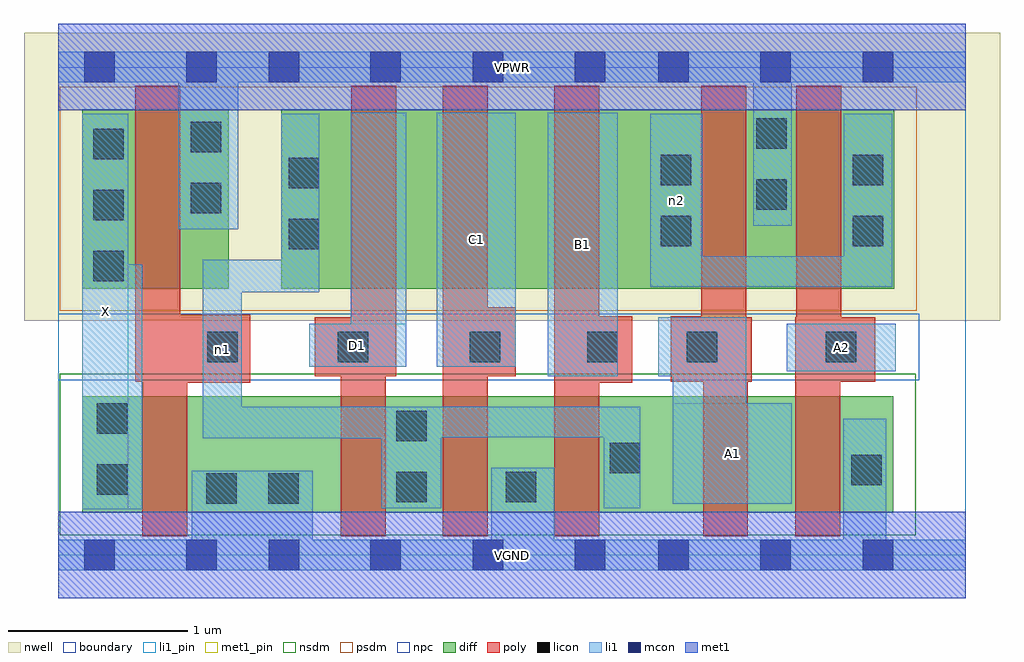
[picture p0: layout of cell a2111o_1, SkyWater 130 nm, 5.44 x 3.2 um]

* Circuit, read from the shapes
.subckt a2111o_1 A1 A2 B1 C1 D1 VGND VPWR X n1 n2
XM1 VGND n1 X VSUBS sky130_fd_pr__nfet_01v8 w=0.65 l=0.25
XM2 n1 D1 VGND VSUBS sky130_fd_pr__nfet_01v8 w=0.65 l=0.25
XM3 VGND C1 n1 VSUBS sky130_fd_pr__nfet_01v8 w=0.65 l=0.25
XM4 n1 B1 VGND VSUBS sky130_fd_pr__nfet_01v8 w=0.65 l=0.25
XM5 n3 A1 n1 VSUBS sky130_fd_pr__nfet_01v8 w=0.65 l=0.25
XM6 VGND A2 n3 VSUBS sky130_fd_pr__nfet_01v8 w=0.65 l=0.25
XM7 VPWR n1 X n4 sky130_fd_pr__pfet_01v8 w=1 l=0.25
XM8 n5 D1 n1 n4 sky130_fd_pr__pfet_01v8 w=1 l=0.25
XM9 n6 C1 n5 n4 sky130_fd_pr__pfet_01v8 w=1 l=0.25
XM10 n2 B1 n6 n4 sky130_fd_pr__pfet_01v8 w=1 l=0.25
XM11 VPWR A1 n2 n4 sky130_fd_pr__pfet_01v8 w=1 l=0.25
XM12 n2 A2 VPWR n4 sky130_fd_pr__pfet_01v8 w=1 l=0.25
.ends

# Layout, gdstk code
import gdstk
lib = gdstk.Library(unit=1e-6, precision=1e-09)
def R(c, l, rs):  # rectangles x0, y0, x1, y1
    for r in rs: c.add(gdstk.rectangle(r[:2], r[2:], *l))
def A(c, l, x, y, w, h, nx, ny, dx, dy):  # array of equal rectangles
    R(c, l, [(x+i*dx, y+j*dy, x+i*dx+w, y+j*dy+h) for i in range(nx) for j in range(ny)])
nwell = (64, 20)
diff = (65, 20)
poly = (66, 20)
licon = (66, 44)
li1_pin = (67, 16)
li1 = (67, 20)
mcon = (67, 44)
met1_pin = (68, 16)
met1 = (68, 20)
nsdm = (93, 44)
psdm = (94, 20)
npc = (95, 20)
boundary = (235, 4)

a2111o_1 = lib.new_cell('a2111o_1')
R(a2111o_1, nwell, [(-0.19,1.305,5.25,2.91), (0,1.305,5.06,2.91)])
R(a2111o_1, diff, [(0.135,0.235,4.655,0.885), (0.135,1.485,0.95,2.485), (1.245,1.485,4.66,2.485)])
R(a2111o_1, poly, [(0.47,0.105,0.72,1.34), (1.575,0.105,1.825,1.325), (2.145,0.105,2.395,2.615), (2.765,0.105,3.015,2.615), (3.595,0.105,3.845,1.325), (4.11,0.105,4.36,1.325), (0.47,0.96,1.07,1.34), (2.765,0.96,3.2,1.33), (0.43,0.965,0.68,2.615), (3.415,0.965,3.865,1.325), (3.415,0.965,3.835,1.33), (3.585,0.965,3.835,2.615), (4.11,0.965,4.555,1.325), (4.115,0.965,4.365,2.615), (1.43,0.995,1.885,1.325), (1.635,0.995,1.885,2.615), (2.145,0.995,2.55,1.38)])
A(a2111o_1, licon, 0.195, 1.525, 0.17, 0.17, 1, 3, 0, 0.34)
R(a2111o_1, licon, [(0.825,0.285,0.995,0.455), (1.17,0.285,1.34,0.455), (1.885,0.295,2.055,0.465), (2.495,0.295,2.665,0.465), (0.215,0.335,0.385,0.505), (4.42,0.39,4.59,0.56), (3.075,0.455,3.245,0.625), (1.885,0.635,2.055,0.805), (0.215,0.675,0.385,0.845), (0.83,1.075,1,1.245), (1.56,1.075,1.73,1.245), (2.295,1.075,2.465,1.245), (2.95,1.075,3.12,1.245), (3.505,1.075,3.675,1.245), (4.28,1.075,4.45,1.245), (1.285,1.705,1.455,1.875), (3.36,1.72,3.53,1.89), (4.43,1.72,4.6,1.89), (0.74,1.905,0.91,2.075), (3.89,1.925,4.06,2.095), (1.285,2.045,1.455,2.215), (3.36,2.06,3.53,2.23), (4.43,2.06,4.6,2.23), (0.74,2.245,0.91,2.415), (3.89,2.265,4.06,2.435)])
R(a2111o_1, li1_pin, [(0.135,0.255,0.39,2.46), (3.425,0.285,4.09,0.845), (2.73,0.995,3.12,2.465), (4.06,1.025,4.67,1.29), (1.4,1.05,1.94,1.29), (2.11,1.05,2.55,2.465)])
R(a2111o_1, li1, [(0,-0.085,5.06,0.085), (0.745,-0.085,1.42,0.47), (2.415,-0.085,2.765,0.485), (4.375,-0.085,4.615,0.76), (0.135,0.255,0.39,2.46), (0.135,0.255,0.47,1.62), (1.8,0.26,2.135,0.825), (3.04,0.26,3.245,0.825), (3.425,0.285,3.835,1.325), (3.425,0.285,4.09,0.845), (0.805,0.65,1.025,1.645), (0.805,0.65,2.135,0.825), (0.805,0.655,3.245,0.825), (2.73,0.995,3.12,2.465), (3.345,0.995,3.835,1.325), (4.06,1.025,4.67,1.29), (1.4,1.05,1.94,1.29), (1.63,1.05,1.94,2.465), (2.11,1.05,2.55,2.465), (0.805,1.465,1.455,1.645), (1.245,1.465,1.455,2.46), (3.3,1.495,3.59,2.46), (3.3,1.495,4.65,1.665), (4.38,1.495,4.65,2.46), (0.67,1.815,1.005,2.805), (3.875,1.835,4.09,2.805), (0,2.635,5.06,2.805)])
A(a2111o_1, mcon, 1.74, -0.085, 0.17, 0.17, 3, 2, 0.57, 2.72)
A(a2111o_1, mcon, 3.345, -0.085, 0.17, 0.17, 3, 2, 0.57, 2.72)
R(a2111o_1, mcon, [(0.145,-0.085,0.315,0.085), (0.715,-0.085,0.885,0.085), (1.175,-0.085,1.345,0.085), (0.145,2.635,0.315,2.805), (0.715,2.635,0.885,2.805), (1.175,2.635,1.345,2.805)])
R(a2111o_1, met1_pin, [(0,-0.24,5.06,0.24), (0,2.48,5.06,2.96)])
R(a2111o_1, met1, [(0,-0.24,5.06,0.24), (0,2.48,5.06,2.96)])
R(a2111o_1, nsdm, [(0.01,0.11,4.78,1.01)])
R(a2111o_1, psdm, [(0.01,1.36,4.785,2.61)])
R(a2111o_1, npc, [(0,0.975,4.8,1.345)])
R(a2111o_1, boundary, [(0,0,5.06,2.72)])
a2111o_1.add(gdstk.Label('A1', (3.757,0.565), layer=67, texttype=5))
a2111o_1.add(gdstk.Label('A2', (4.365,1.157), layer=67, texttype=5))
a2111o_1.add(gdstk.Label('B1', (2.925,1.73), layer=67, texttype=5))
a2111o_1.add(gdstk.Label('C1', (2.33,1.757), layer=67, texttype=5))
a2111o_1.add(gdstk.Label('D1', (1.67,1.17), layer=67, texttype=5))
a2111o_1.add(gdstk.Label('X', (0.262,1.357), layer=67, texttype=5))
a2111o_1.add(gdstk.Label('n1', (0.915,1.147), layer=67, texttype=5))
a2111o_1.add(gdstk.Label('n2', (3.445,1.977), layer=67, texttype=5))
a2111o_1.add(gdstk.Label('VPWR', (2.53,2.72), layer=68, texttype=5))
a2111o_1.add(gdstk.Label('VGND', (2.53,0), layer=68, texttype=5))
a2111o_1.add(gdstk.Label('A1', (3.757,0.565), layer=67, texttype=16))
a2111o_1.add(gdstk.Label('A2', (4.365,1.157), layer=67, texttype=16))
a2111o_1.add(gdstk.Label('B1', (2.925,1.73), layer=67, texttype=16))
a2111o_1.add(gdstk.Label('C1', (2.33,1.757), layer=67, texttype=16))
a2111o_1.add(gdstk.Label('D1', (1.67,1.17), layer=67, texttype=16))
a2111o_1.add(gdstk.Label('X', (0.262,1.357), layer=67, texttype=16))
a2111o_1.add(gdstk.Label('VPWR', (2.53,2.72), layer=68, texttype=16))
a2111o_1.add(gdstk.Label('VGND', (2.53,0), layer=68, texttype=16))

lib.write_gds('a2111o_1.gds')
